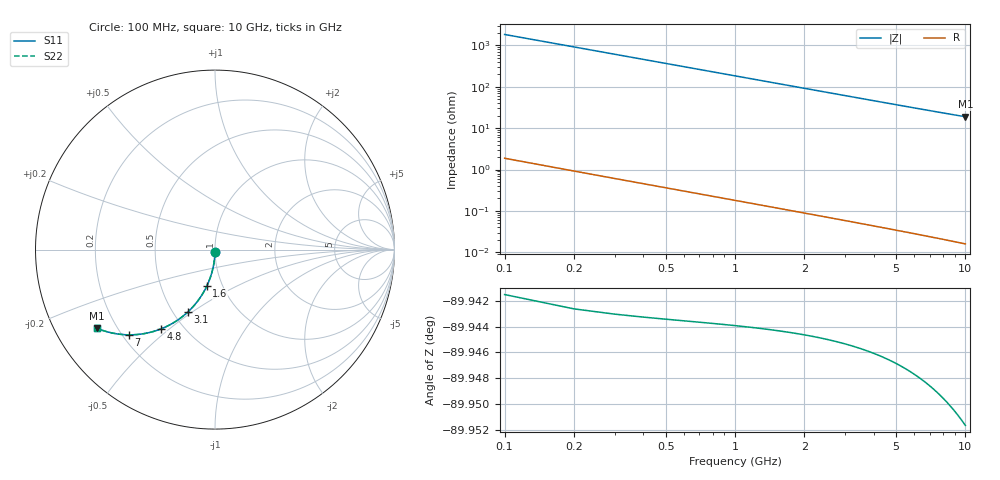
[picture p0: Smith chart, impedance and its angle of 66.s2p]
# Hz S RI R 50.00
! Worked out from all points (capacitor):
!   100 points, 100 MHz to 10 GHz, reference 50 ohm
!   read as one part in shunt: C = 867 fF near 100 MHz
!   lowest |Z| = 18.9 ohm at 10 GHz (marker M1)
!   S11 on the Smith chart (normalised r, x): 100 MHz: 1.00, -0.03; 1.6 GHz: 0.84, -0.36; 3.1 GHz: 0.59, -0.48; 4.8 GHz: 0.38, -0.47; 7 GHz: 0.22, -0.39; 10 GHz: 0.13, -0.30
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1e8  -9.76e-05 -0.0133  0.9997 -0.014  0.9997 -0.014  -9.76e-05 -0.0133
2e8  -0.000665 -0.0265  0.9991 -0.0279  0.9991 -0.0279  -0.000665 -0.0265
3e8  -0.0016 -0.0397  0.9982 -0.0418  0.9982 -0.0418  -0.0016 -0.0397
4e8  -0.00291 -0.0529  0.9969 -0.0557  0.9969 -0.0557  -0.00291 -0.0529
5e8  -0.00457 -0.066  0.9952 -0.0695  0.9952 -0.0695  -0.00457 -0.066
6e8  -0.0066 -0.0791  0.9932 -0.0832  0.9932 -0.0832  -0.0066 -0.0791
7e8  -0.00898 -0.092  0.9908 -0.0968  0.9908 -0.0968  -0.00898 -0.092
9e8  -0.0148 -0.1176  0.985 -0.1238  0.985 -0.1238  -0.0148 -0.1176
1.2e9  -0.026 -0.155  0.9737 -0.1632  0.9737 -0.1632  -0.026 -0.155
1.6e9  -0.0454 -0.2026  0.9543 -0.2135  0.9543 -0.2135  -0.0454 -0.2026
1.8e9  -0.0568 -0.2251  0.9429 -0.2374  0.9429 -0.2374  -0.0568 -0.2251
2.4e9  -0.0968 -0.2872  0.9028 -0.3037  0.9028 -0.3037  -0.0968 -0.2872
3.1e9  -0.1519 -0.348  0.8476 -0.3693  0.8476 -0.3693  -0.1519 -0.348
3.4e9  -0.1774 -0.37  0.8221 -0.3934  0.8221 -0.3934  -0.1774 -0.37
4.1e9  -0.2391 -0.4121  0.7603 -0.4403  0.7603 -0.4403  -0.2391 -0.4121
4.8e9  -0.3015 -0.442  0.6977 -0.4751  0.6977 -0.4751  -0.3015 -0.442
5.1e9  -0.3279 -0.4515  0.6713 -0.4867  0.6713 -0.4867  -0.3279 -0.4515
5.9e9  -0.3958 -0.4682  0.6032 -0.509  0.6032 -0.509  -0.3958 -0.4682
6.7e9  -0.4588 -0.4746  0.5399 -0.5211  0.5399 -0.5211  -0.4588 -0.4746
7e9  -0.4809 -0.4748  0.5176 -0.5235  0.5176 -0.5235  -0.4809 -0.4748
8.4e9  -0.5733 -0.4645  0.4247 -0.5233  0.4247 -0.5233  -0.5733 -0.4645
1e10  -0.6576 -0.4382  0.3396 -0.5088  0.3396 -0.5088  -0.6576 -0.4382
